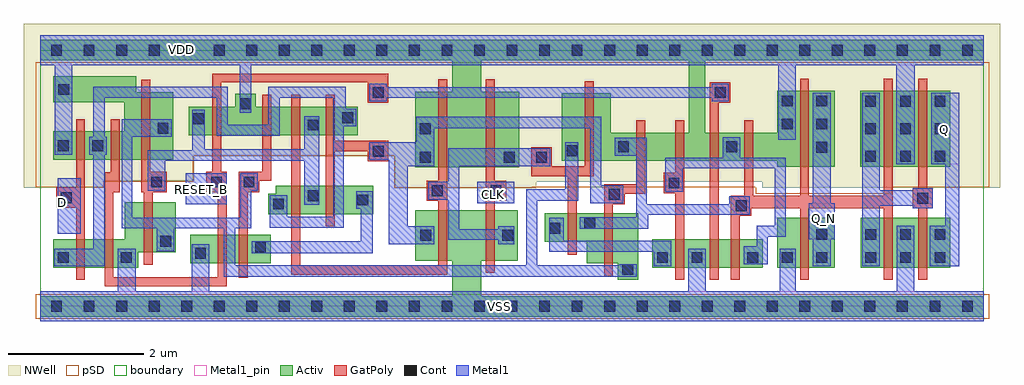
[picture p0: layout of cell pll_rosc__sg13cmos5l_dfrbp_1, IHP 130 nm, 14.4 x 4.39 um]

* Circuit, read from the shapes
.subckt pll_rosc__sg13cmos5l_dfrbp_1 CLK D Q Q_N RESET_B VDD VSS
XM1 n1 D n2 VSS sg13_lv_nmos w=0.42u l=0.13u
XM2 VSS RESET_B n1 VSS sg13_lv_nmos w=0.42u l=0.13u
XM3 n3 n4 VSS VSS sg13_lv_nmos w=0.74u l=0.13u
XM4 n5 RESET_B VSS VSS sg13_lv_nmos w=0.42u l=0.13u
XM5 n6 n3 n5 VSS sg13_lv_nmos w=0.42u l=0.13u
XM6 n4 n7 n2 VSS sg13_lv_nmos w=0.42u l=0.13u
XM7 n6 n8 n4 VSS sg13_lv_nmos w=0.42u l=0.13u
XM8 VSS n7 n8 VSS sg13_lv_nmos w=0.74u l=0.13u
XM9 n7 CLK VSS VSS sg13_lv_nmos w=0.74u l=0.13u
XM10 n9 n7 n10 VSS sg13_lv_nmos w=0.42u l=0.13u
XM11 n3 n8 n9 VSS sg13_lv_nmos w=0.74u l=0.13u
XM12 VSS n11 n10 VSS sg13_lv_nmos w=0.42u l=0.13u
XM13 n12 RESET_B VSS VSS sg13_lv_nmos w=0.42u l=0.13u
XM14 n11 n9 n12 VSS sg13_lv_nmos w=0.42u l=0.13u
XM15 Q_N n9 VSS VSS sg13_lv_nmos w=0.74u l=0.13u
XM16 VSS n9 n13 VSS sg13_lv_nmos w=0.74u l=0.13u
XM17 Q n13 VSS VSS sg13_lv_nmos w=0.74u l=0.13u
XM18 n2 D VDD VDD sg13_lv_pmos w=0.42u l=0.13u
XM19 VDD RESET_B n2 VDD sg13_lv_pmos w=0.42u l=0.13u
XM20 n3 n4 VDD VDD sg13_lv_pmos w=1u l=0.13u
XM21 VDD RESET_B n4 VDD sg13_lv_pmos w=0.42u l=0.13u
XM22 n14 n3 VDD VDD sg13_lv_pmos w=0.42u l=0.13u
XM23 n4 n7 n14 VDD sg13_lv_pmos w=0.42u l=0.13u
XM24 n2 n8 n4 VDD sg13_lv_pmos w=0.42u l=0.13u
XM25 VDD n7 n8 VDD sg13_lv_pmos w=1.12u l=0.13u
XM26 n7 CLK VDD VDD sg13_lv_pmos w=1.12u l=0.13u
XM27 n9 n7 n3 VDD sg13_lv_pmos w=1u l=0.13u
XM28 n15 n8 n9 VDD sg13_lv_pmos w=0.42u l=0.13u
XM29 VDD n11 n15 VDD sg13_lv_pmos w=0.42u l=0.13u
XM30 n11 RESET_B VDD VDD sg13_lv_pmos w=0.42u l=0.13u
XM31 VDD n9 n11 VDD sg13_lv_pmos w=0.42u l=0.13u
XM32 Q_N n9 VDD VDD sg13_lv_pmos w=1.12u l=0.13u
XM33 VDD n9 n13 VDD sg13_lv_pmos w=1.12u l=0.13u
XM34 Q n13 VDD VDD sg13_lv_pmos w=1.12u l=0.13u
.ends

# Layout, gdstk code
import gdstk
lib = gdstk.Library(unit=1e-6, precision=1e-09)
def R(c, l, rs):  # rectangles x0, y0, x1, y1
    for r in rs: c.add(gdstk.rectangle(r[:2], r[2:], *l))
def A(c, l, x, y, w, h, nx, ny, dx, dy):  # array of equal rectangles
    R(c, l, [(x+i*dx, y+j*dy, x+i*dx+w, y+j*dy+h) for i in range(nx) for j in range(ny)])
def P(c, l, *ps):  # polygons
    for p in ps: c.add(gdstk.Polygon(p, *l))
Activ = (1, 0)
GatPoly = (5, 0)
Cont = (6, 0)
Metal1 = (8, 0)
Metal1_pin = (8, 2)
pSD = (14, 0)
NWell = (31, 0)
boundary = (189, 4)

pll_rosc__sg13cmos5l_dfr = lib.new_cell('pll_rosc__sg13cmos5l_dfrbp_1')
R(pll_rosc__sg13cmos5l_dfr, Activ, [(9.03,0.57,10.66,0.99), (10.87,0.57,11.725,1.31), (12.105,0.57,13.425,1.31), (2.215,0.635,3.4,1.055), (12.1,2.06,13.425,3.18), (0,3.63,13.92,3.93)])
P(pll_rosc__sg13cmos5l_dfr, Activ, [(0,-0.15),(0,0.15),(6.075,0.15),(6.075,0.675),(5.535,0.675),(5.535,1.415),(7.045,1.415),(7.045,0.675),(6.505,0.675),(6.505,0.15),(13.92,0.15),(13.92,-0.15)],
  [(10.87,2.06),(10.87,2.145),(7.695,2.145),(7.695,3.145),(8.415,3.145),(8.415,2.565),(9.57,2.565),(9.57,3.63),(9.81,3.63),(9.81,2.565),(10.87,2.565),(10.87,3.18),(11.725,3.18),(11.725,2.06)],
  [(8.52,0.39),(8.52,0.635),(8.06,0.635),(8.06,0.955),(7.445,0.955),(7.445,1.375),(8.82,1.375),(8.82,0.39)],
  [(5.53,2.05),(5.53,3.17),(6.075,3.17),(6.075,3.63),(6.505,3.63),(6.505,3.17),(7.07,3.17),(7.07,2.05)],
  [(3.365,1.36),(3.365,1.66),(3.475,1.66),(3.475,1.78),(4.91,1.78),(4.91,1.36)],
  [(2.19,2.525),(2.19,2.945),(2.88,2.945),(2.88,3.14),(3.18,3.14),(3.18,2.945),(4.685,2.945),(4.685,2.525)],
  [(0.19,0.57),(0.19,0.99),(1.245,0.99),(1.245,1.535),(2,1.535),(2,0.795),(1.445,0.795),(1.445,0.57)],
  [(0.19,2.16),(0.19,2.58),(1.24,2.58),(1.24,3.01),(0.19,3.01),(0.19,3.395),(1.415,3.395),(1.415,3.16),(1.96,3.16),(1.96,2.16)])
R(pll_rosc__sg13cmos5l_dfr, GatPoly, [(12.955,0.39,13.085,3.36), (12.87,1.445,13.17,1.745)])
P(pll_rosc__sg13cmos5l_dfr, GatPoly, [(9.88,0.39),(9.88,3.305),(10.18,3.305),(10.18,3.005),(10.01,3.005),(10.01,0.39)],
  [(3.705,0.465),(3.705,3.125),(3.835,3.125),(3.835,0.605),(5.875,0.605),(5.875,1.555),(5.705,1.555),(5.705,1.855),(5.875,1.855),(5.875,3.35),(6.005,3.35),(6.005,0.465)],
  [(0.53,0.39),(0.53,1.455),(0.235,1.455),(0.235,1.755),(0.53,1.755),(0.53,2.76),(0.66,2.76),(0.66,0.39)],
  [(10.19,0.39),(10.19,1.635),(10.39,1.635),(10.39,2.745),(10.52,2.745),(10.52,1.635),(11.21,1.635),(11.21,3.36),(11.34,3.36),(11.34,1.635),(12.445,1.635),(12.445,3.36),(12.575,3.36),(12.575,0.39),(12.445,0.39),(12.445,1.45),(11.34,1.45),(11.34,0.39),(11.21,0.39),(11.21,1.45),(10.49,1.45),(10.49,1.335),(10.32,1.335),(10.32,0.39)],
  [(9.37,0.39),(9.37,1.67),(9.2,1.67),(9.2,1.97),(9.37,1.97),(9.37,2.745),(9.5,2.745),(9.5,0.39)],
  [(7.785,0.765),(7.785,1.92),(7.245,1.92),(7.245,2.35),(7.545,2.35),(7.545,2.07),(8.035,2.07),(8.035,3.325),(8.165,3.325),(8.165,1.92),(7.915,1.92),(7.915,0.765)],
  [(6.575,0.495),(6.575,3.35),(6.705,3.35),(6.705,1.855),(6.875,1.855),(6.875,1.555),(6.705,1.555),(6.705,0.495)],
  [(4.215,1.18),(4.215,3.125),(4.345,3.125),(4.345,2.44),(5.135,2.44),(5.135,2.14),(4.835,2.14),(4.835,2.29),(4.345,2.29),(4.345,1.18)],
  [(2.93,0.425),(2.93,1.985),(3.275,1.985),(3.275,3.125),(3.405,3.125),(3.405,1.855),(3.23,1.855),(3.23,1.685),(3.06,1.685),(3.06,0.425)],
  [(0.95,0.295),(0.95,1.98),(1.04,1.98),(1.04,2.76),(1.17,2.76),(1.17,1.685),(1.08,1.685),(1.08,0.43),(2.62,0.43),(2.62,1.685),(2.45,1.685),(2.45,1.985),(2.54,1.985),(2.54,3.435),(5.135,3.435),(5.135,3.005),(4.835,3.005),(4.835,3.305),(2.67,3.305),(2.67,1.985),(2.75,1.985),(2.75,0.295)],
  [(1.53,0.615),(1.53,1.685),(1.49,1.685),(1.49,3.34),(1.62,3.34),(1.62,1.985),(1.865,1.985),(1.865,1.685),(1.66,1.685),(1.66,0.615)],
  [(8.32,0.445),(8.32,1.805),(8.795,1.805),(8.795,2.745),(8.925,2.745),(8.925,1.66),(8.62,1.66),(8.62,1.505),(8.45,1.505),(8.45,0.445)])
A(pll_rosc__sg13cmos5l_dfr, Cont, 0.16, -0.08, 0.16, 0.16, 29, 2, 0.48, 3.78)
A(pll_rosc__sg13cmos5l_dfr, Cont, 10.43, 0.64, 0.16, 0.16, 3, 1, 0.51, 0)
A(pll_rosc__sg13cmos5l_dfr, Cont, 12.175, 0.64, 0.16, 0.16, 3, 2, 0.51, 0.34)
A(pll_rosc__sg13cmos5l_dfr, Cont, 12.17, 2.135, 0.16, 0.16, 1, 3, 0, 0.405)
A(pll_rosc__sg13cmos5l_dfr, Cont, 12.685, 2.135, 0.16, 0.16, 1, 3, 0, 0.405)
A(pll_rosc__sg13cmos5l_dfr, Cont, 13.195, 2.135, 0.16, 0.16, 1, 3, 0, 0.405)
A(pll_rosc__sg13cmos5l_dfr, Cont, 11.45, 2.27, 0.16, 0.16, 1, 3, 0, 0.34)
R(pll_rosc__sg13cmos5l_dfr, Cont, [(8.59,0.465,8.75,0.625), (0.26,0.64,0.42,0.8), (1.19,0.64,1.35,0.8), (9.1,0.64,9.26,0.8), (9.61,0.64,9.77,0.8), (2.285,0.705,2.445,0.865), (3.17,0.795,3.33,0.955), (1.77,0.88,1.93,1.04), (5.605,0.97,5.765,1.13), (6.815,0.97,6.975,1.13), (11.45,0.98,11.61,1.14), (7.515,1.075,7.675,1.235), (8.025,1.145,8.185,1.305), (10.26,1.405,10.42,1.565), (3.435,1.43,3.595,1.59), (4.68,1.49,4.84,1.65), (12.94,1.515,13.1,1.675), (0.305,1.525,0.465,1.685), (3.945,1.55,4.105,1.71), (8.39,1.575,8.55,1.735), (5.775,1.625,5.935,1.785), (6.645,1.625,6.805,1.785), (9.27,1.74,9.43,1.9), (1.635,1.755,1.795,1.915), (2.52,1.755,2.68,1.915), (3,1.755,3.16,1.915), (5.6,2.12,5.76,2.28), (6.84,2.12,7,2.28), (7.315,2.12,7.475,2.28), (4.905,2.21,5.065,2.37), (7.765,2.215,7.925,2.375), (8.525,2.275,8.685,2.435), (10.12,2.275,10.28,2.435), (0.26,2.29,0.42,2.45), (0.77,2.29,0.93,2.45), (5.6,2.54,5.76,2.7), (1.73,2.55,1.89,2.71), (3.945,2.595,4.105,2.755), (10.94,2.61,11.1,2.77), (2.26,2.69,2.42,2.85), (4.455,2.705,4.615,2.865), (2.95,2.91,3.11,3.07), (10.94,2.95,11.1,3.11), (4.905,3.075,5.065,3.235), (9.95,3.075,10.11,3.235), (0.265,3.12,0.425,3.28)])
R(pll_rosc__sg13cmos5l_dfr, Metal1, [(0.255,1.07,0.6,1.89), (2.145,1.51,2.75,1.965), (6.45,1.52,6.99,1.84)])
P(pll_rosc__sg13cmos5l_dfr, Metal1, [(10.38,0.625),(10.38,0.885),(10.57,0.885),(10.57,1.19),(10.84,1.19),(10.84,2.035),(9.48,2.035),(9.48,1.69),(9.22,1.69),(9.22,2.195),(10.07,2.195),(10.07,2.495),(10.33,2.495),(10.33,2.195),(11,2.195),(11,1.03),(10.73,1.03),(10.73,0.625)],
  [(12.125,0.59),(12.125,3.155),(12.385,3.155),(12.385,1.71),(12.87,1.71),(12.87,1.745),(13.17,1.745),(13.17,1.445),(12.87,1.445),(12.87,1.485),(12.385,1.485),(12.385,0.59)],
  [(13.125,0.59),(13.125,1.19),(13.35,1.19),(13.35,2.095),(13.145,2.095),(13.145,3.155),(13.56,3.155),(13.56,0.59)],
  [(4.855,3.025),(4.855,3.285),(5.115,3.285),(5.115,3.235),(9.91,3.235),(9.91,3.285),(10.16,3.285),(10.16,3.025),(9.91,3.025),(9.91,3.075),(5.115,3.075),(5.115,3.025)],
  [(6.755,0.92),(6.755,0.98),(6.02,0.98),(6.02,1.575),(5.725,1.575),(5.725,1.835),(6.02,1.835),(6.02,2.33),(7.525,2.33),(7.525,2.07),(6.18,2.07),(6.18,1.14),(6.755,1.14),(6.755,1.18),(6.99,1.18),(6.99,0.92)],
  [(0.21,0.59),(0.21,0.85),(0.785,0.85),(0.785,2.24),(0.72,2.24),(0.72,2.5),(0.785,2.5),(0.785,3.24),(2.765,3.24),(2.765,2.68),(3.365,2.68),(3.365,3.24),(4.505,3.24),(4.505,2.915),(4.665,2.915),(4.665,2.655),(4.48,2.655),(4.48,1.16),(3.385,1.16),(3.385,1.64),(3.645,1.64),(3.645,1.32),(4.32,1.32),(4.32,3.08),(3.535,3.08),(3.535,2.52),(2.605,2.52),(2.605,3.08),(0.95,3.08),(0.95,2.5),(0.98,2.5),(0.98,2.24),(0.95,2.24),(0.95,0.59)],
  [(0,-0.22),(0,0.22),(1.14,0.22),(1.14,0.85),(1.41,0.85),(1.41,0.22),(2.235,0.22),(2.235,0.915),(2.495,0.915),(2.495,0.22),(9.56,0.22),(9.56,0.85),(9.82,0.85),(9.82,0.22),(10.91,0.22),(10.91,0.85),(11.15,0.85),(11.15,0.22),(12.635,0.22),(12.635,1.19),(12.895,1.19),(12.895,0.22),(13.92,0.22),(13.92,-0.22)],
  [(5.145,0.92),(5.145,2.16),(4.855,2.16),(4.855,2.42),(5.55,2.42),(5.55,2.8),(8.275,2.8),(8.275,1.785),(8.6,1.785),(8.6,1.525),(8.115,1.525),(8.115,2.63),(5.81,2.63),(5.81,2.07),(5.42,2.07),(5.42,1.18),(5.815,1.18),(5.815,0.92)],
  [(12.63,2.1),(12.63,3.56),(11.15,3.56),(11.15,2.46),(10.89,2.46),(10.89,3.56),(3.115,3.56),(3.115,2.86),(2.945,2.86),(2.945,3.56),(0.475,3.56),(0.475,2.24),(0.215,2.24),(0.215,3.56),(0,3.56),(0,4),(13.92,4),(13.92,3.56),(12.9,3.56),(12.9,2.1)],
  [(11.4,0.59),(11.4,0.99),(11.34,0.99),(11.34,1.52),(11.4,1.52),(11.4,3.155),(11.66,3.155),(11.66,1.52),(11.725,1.52),(11.725,0.99),(11.66,0.99),(11.66,0.59)],
  [(7.96,1.145),(7.96,1.315),(8.79,1.315),(8.79,2.225),(8.475,2.225),(8.475,2.485),(8.95,2.485),(8.95,1.51),(10.165,1.51),(10.165,1.625),(10.47,1.625),(10.47,1.35),(8.97,1.35),(8.97,1.145)],
  [(9.05,0.59),(9.05,0.805),(7.51,0.805),(7.51,1.31),(7.725,1.31),(7.725,0.965),(9.31,0.965),(9.31,0.59)],
  [(3.12,0.785),(3.12,0.96),(4.725,0.96),(4.725,1.44),(4.66,1.44),(4.66,1.7),(4.905,1.7),(4.905,0.785)],
  [(3.895,1.5),(3.895,2.145),(1.845,2.145),(1.845,1.705),(1.585,1.705),(1.585,2.305),(2.245,2.305),(2.245,2.9),(2.425,2.9),(2.425,2.315),(3.895,2.315),(3.895,2.805),(4.115,2.805),(4.115,1.5)],
  [(2.705,0.44),(2.705,1.15),(1.98,1.15),(1.98,0.815),(1.72,0.815),(1.72,1.15),(1.2,1.15),(1.2,2.76),(1.94,2.76),(1.94,2.5),(1.36,2.5),(1.36,1.31),(2.95,1.31),(2.95,1.965),(3.21,1.965),(3.21,1.705),(3.11,1.705),(3.11,1.15),(2.875,1.15),(2.875,0.605),(7.17,0.605),(7.17,1.725),(7.745,1.725),(7.745,2.425),(7.935,2.425),(7.935,1.555),(7.33,1.555),(7.33,0.605),(8.54,0.605),(8.54,0.625),(8.8,0.625),(8.8,0.44)])
R(pll_rosc__sg13cmos5l_dfr, Metal1_pin, [(0,-0.22,13.92,0.22), (11.34,0.99,11.725,1.52), (0.255,1.07,0.6,1.89), (2.145,1.51,2.75,1.965), (6.45,1.52,6.99,1.84), (13.145,2.095,13.56,3.155), (0,3.56,13.92,4)])
R(pll_rosc__sg13cmos5l_dfr, pSD, [(-0.07,-0.18,14,0.18)])
P(pll_rosc__sg13cmos5l_dfr, pSD, [(10.555,1.66),(10.555,1.76),(7.245,1.76),(7.245,1.75),(5.23,1.75),(5.23,2.225),(2.255,2.225),(2.255,1.835),(0.945,1.835),(0.945,1.76),(-0.07,1.76),(-0.07,3.6),(14,3.6),(14,1.76),(12.56,1.76),(12.56,1.66)])
P(pll_rosc__sg13cmos5l_dfr, NWell, [(5.22,1.74),(5.22,2.215),(2.27,2.215),(2.27,1.85),(0.935,1.85),(0.935,1.75),(-0.24,1.75),(-0.24,4.17),(14.16,4.17),(14.16,1.75),(10.655,1.75),(10.655,1.835),(7.315,1.835),(7.315,1.74)])
R(pll_rosc__sg13cmos5l_dfr, boundary, [(0,0,13.92,3.78)])
pll_rosc__sg13cmos5l_dfr.add(gdstk.Label('CLK', (6.69,1.655), layer=8, texttype=25))
pll_rosc__sg13cmos5l_dfr.add(gdstk.Label('VSS', (6.77,0), layer=8, texttype=25))
pll_rosc__sg13cmos5l_dfr.add(gdstk.Label('D', (0.325,1.53), layer=8, texttype=25))
pll_rosc__sg13cmos5l_dfr.add(gdstk.Label('Q_N', (11.56,1.295), layer=8, texttype=25))
pll_rosc__sg13cmos5l_dfr.add(gdstk.Label('Q', (13.34,2.61), layer=8, texttype=25))
pll_rosc__sg13cmos5l_dfr.add(gdstk.Label('RESET_B', (2.385,1.73), layer=8, texttype=25))
pll_rosc__sg13cmos5l_dfr.add(gdstk.Label('VDD', (2.085,3.79), layer=8, texttype=25))

lib.write_gds('pll_rosc__sg13cmos5l_dfrbp_1.gds')
